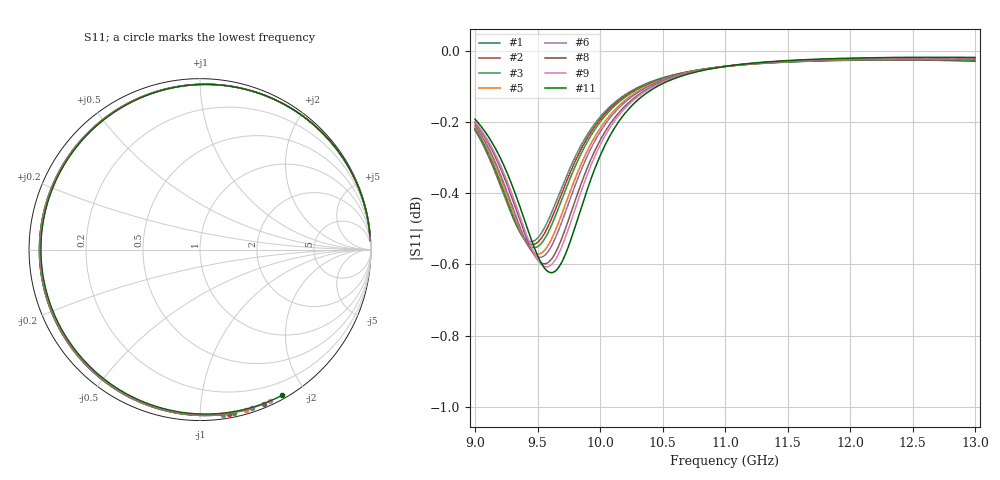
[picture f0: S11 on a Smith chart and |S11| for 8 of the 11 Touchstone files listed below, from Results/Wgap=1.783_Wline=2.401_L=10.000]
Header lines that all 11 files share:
! TOUCHSTONE file generated by CST DESIGN STUDIO
! Project name: C:\Work\MatlabApps\UnitCellOptimizationMatlab\CST\unitcell.cst
! Tree item: Tasks\Sweep1\SPara1\S-Parameters
! Header version: 2024
! Port assignment regex: !\s*Touchstone port\s*([0-9]+)\s*=\s*(CST MWS port|CST DES external port|CST DES block port)\s*(.+)\s* \(\"(.*)\"\)(\s*mode\s*([0-9]+))?.*
! Touchstone port assignment:
! Touchstone port 1 = CST DES external port 1 ("")
# GHz S MA R 50
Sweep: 9 GHz to 13 GHz
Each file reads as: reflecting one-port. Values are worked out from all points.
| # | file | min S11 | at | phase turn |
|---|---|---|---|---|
| 1 | DS_for_MWS-run-0001.s1p | -0.5 dB | 9.448 GHz | -275 deg |
| 2 | DS_for_MWS-run-0002.s1p | -0.5 dB | 9.46 GHz | -277 deg |
| 3 | DS_for_MWS-run-0003.s1p | -0.6 dB | 9.474 GHz | -279 deg |
| 4 | DS_for_MWS-run-0004.s1p | -0.6 dB | 9.488 GHz | -280 deg |
| 5 | DS_for_MWS-run-0005.s1p | -0.6 dB | 9.504 GHz | -282 deg |
| 6 | DS_for_MWS-run-0006.s1p | -0.6 dB | 9.52 GHz | -284 deg |
| 7 | DS_for_MWS-run-0007.s1p | -0.6 dB | 9.537 GHz | -286 deg |
| 8 | DS_for_MWS-run-0008.s1p | -0.6 dB | 9.554 GHz | -288 deg |
| 9 | DS_for_MWS-run-0009.s1p | -0.6 dB | 9.573 GHz | -291 deg |
| 10 | DS_for_MWS-run-0010.s1p | -0.6 dB | 9.591 GHz | -293 deg |
| 11 | DS_for_MWS-run-0011.s1p | -0.6 dB | 9.611 GHz | -295 deg |
